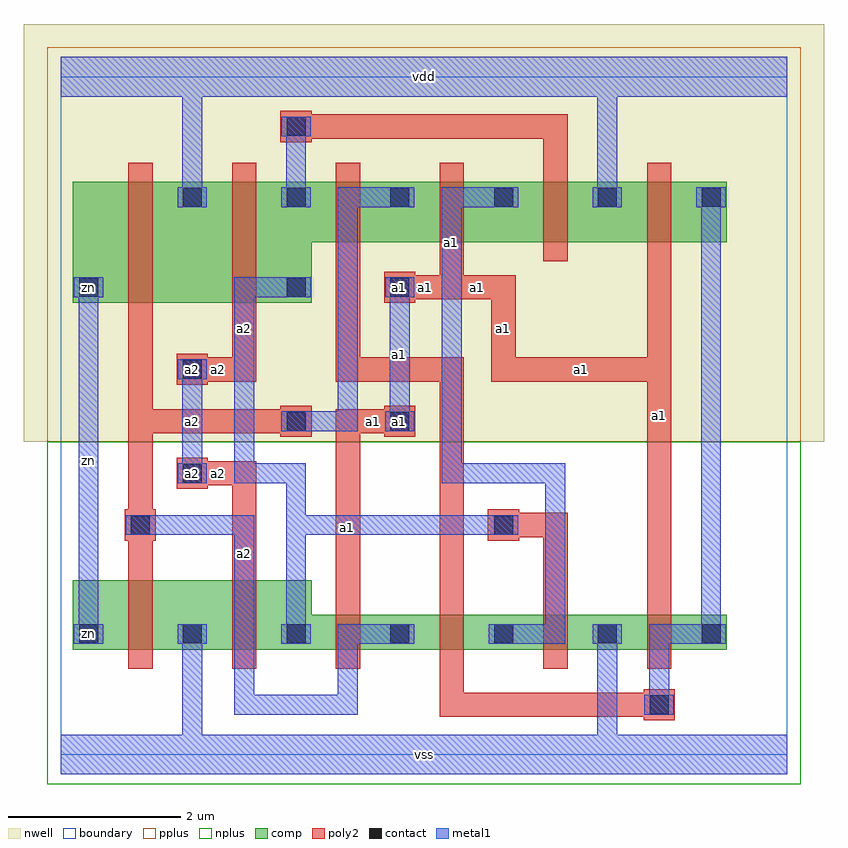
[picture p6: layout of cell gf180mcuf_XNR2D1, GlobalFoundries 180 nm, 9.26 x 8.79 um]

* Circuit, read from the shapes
.subckt gf180mcuf_XNR2D1 a1 a2 vdd vss zn
XM1 vss n1 zn VSUBS nfet_03v3 w=0.8u l=0.28u
XM2 n2 a2 vss VSUBS nfet_03v3 w=0.8u l=0.28u
XM3 n1 a1 n2 VSUBS nfet_03v3 w=0.4u l=0.28u
XM4 n3 n4 n1 VSUBS nfet_03v3 w=0.4u l=0.28u
XM5 vss n2 n3 VSUBS nfet_03v3 w=0.4u l=0.28u
XM6 n4 a1 vss VSUBS nfet_03v3 w=0.4u l=0.28u
XM7 vdd n1 zn n5 pfet_03v3 w=1.4u l=0.28u
XM8 n2 a2 vdd n5 pfet_03v3 w=1.4u l=0.28u
XM9 n1 n4 n2 n5 pfet_03v3 w=0.7u l=0.28u
XM10 n3 a1 n1 n5 pfet_03v3 w=0.7u l=0.28u
XM11 vdd n2 n3 n5 pfet_03v3 w=0.7u l=0.28u
XM12 n4 a1 vdd n5 pfet_03v3 w=0.7u l=0.28u
.ends

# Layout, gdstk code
import gdstk
lib = gdstk.Library(unit=1e-6, precision=1e-09)
def R(c, l, rs):  # rectangles x0, y0, x1, y1
    for r in rs: c.add(gdstk.rectangle(r[:2], r[2:], *l))
def A(c, l, x, y, w, h, nx, ny, dx, dy):  # array of equal rectangles
    R(c, l, [(x+i*dx, y+j*dy, x+i*dx+w, y+j*dy+h) for i in range(nx) for j in range(ny)])
boundary = (0, 0)
nwell = (21, 0)
comp = (22, 0)
poly2 = (30, 0)
pplus = (31, 0)
nplus = (32, 0)
contact = (33, 0)
metal1 = (34, 0)

gf180mcuf_xnr2d1 = lib.new_cell('gf180mcuf_XNR2D1')
R(gf180mcuf_xnr2d1, boundary, [(0,0,8.4,7.84)])
R(gf180mcuf_xnr2d1, nwell, [(-0.43,3.62,8.83,8.45)])
A(gf180mcuf_xnr2d1, comp, 0.14, 1.215, 0.36, 0.36, 7, 1, 1.2, 0)
A(gf180mcuf_xnr2d1, comp, 2.54, 1.215, 1.56, 0.4, 4, 1, 1.2, 0)
A(gf180mcuf_xnr2d1, comp, 2.54, 5.925, 1.56, 0.7, 4, 1, 1.2, 0)
A(gf180mcuf_xnr2d1, comp, 1.34, 6.265, 0.36, 0.36, 6, 1, 1.2, 0)
R(gf180mcuf_xnr2d1, comp, [(0.14,1.215,1.7,2.015), (1.34,1.215,2.9,2.015), (0.14,5.225,1.7,6.625), (0.14,5.225,0.5,5.585), (1.34,5.225,2.9,6.625), (2.54,5.225,2.9,5.585)])
A(gf180mcuf_xnr2d1, poly2, 3.18, 0.995, 0.28, 0.84, 4, 1, 1.2, 0)
A(gf180mcuf_xnr2d1, poly2, 3.18, 5.705, 0.28, 1.14, 4, 1, 1.2, 0)
R(gf180mcuf_xnr2d1, poly2, [(6.74,0.395,7.1,0.755), (4.38,0.435,4.66,1.535), (4.38,0.435,7.06,0.715), (0.78,0.995,1.06,2.235), (1.98,0.995,2.26,2.235), (0.78,1.255,1.06,2.795), (1.98,1.255,2.26,3.395), (3.18,1.255,3.46,3.995), (4.38,1.255,4.66,4.595), (5.58,1.255,5.86,2.795), (6.78,1.255,7.06,6.585), (0.74,2.475,1.1,2.835), (4.94,2.475,5.3,2.835), (0.78,2.515,1.06,3.995), (4.98,2.515,5.86,2.795), (1.34,3.075,1.7,3.435), (1.38,3.115,2.26,3.395), (2.54,3.675,2.9,4.035), (3.74,3.675,4.1,4.035), (0.78,3.715,2.86,3.995), (0.78,3.715,1.06,5.545), (3.18,3.715,4.06,3.995), (1.34,4.275,1.7,4.635), (1.38,4.315,2.26,4.595), (1.98,4.315,2.26,5.545), (3.18,4.315,4.66,4.595), (3.18,4.315,3.46,6.585), (4.98,4.315,5.26,5.545), (4.98,4.315,7.06,4.595), (0.78,5.005,1.06,6.845), (1.98,5.005,2.26,6.845), (3.74,5.225,4.1,5.585), (3.78,5.265,4.66,5.545), (4.38,5.265,5.26,5.545), (4.38,5.265,4.66,6.585), (5.58,6.305,5.86,7.405), (2.54,7.085,2.9,7.445), (2.58,7.125,5.86,7.405)])
R(gf180mcuf_xnr2d1, pplus, [(-0.16,3.62,8.56,7.5), (-0.16,7.5,8.56,8.18)])
R(gf180mcuf_xnr2d1, nplus, [(-0.16,-0.34,8.56,0.34), (-0.16,0.34,8.56,3.62)])
A(gf180mcuf_xnr2d1, contact, 0.21, 1.285, 0.22, 0.22, 7, 1, 1.2, 0)
A(gf180mcuf_xnr2d1, contact, 1.41, 6.335, 0.22, 0.22, 6, 1, 1.2, 0)
R(gf180mcuf_xnr2d1, contact, [(6.81,0.465,7.03,0.685), (0.81,2.545,1.03,2.765), (5.01,2.545,5.23,2.765), (1.41,3.145,1.63,3.365), (2.61,3.745,2.83,3.965), (3.81,3.745,4.03,3.965), (1.41,4.345,1.63,4.565), (0.21,5.295,0.43,5.515), (2.61,5.295,2.83,5.515), (3.81,5.295,4.03,5.515), (2.61,7.155,2.83,7.375)])
A(gf180mcuf_xnr2d1, metal1, 0.15, 1.28, 0.34, 0.23, 7, 1, 1.2, 0)
A(gf180mcuf_xnr2d1, metal1, 3.205, 1.28, 0.83, 0.23, 3, 1, 1.8, 0)
A(gf180mcuf_xnr2d1, metal1, 1.35, 6.33, 0.34, 0.23, 6, 1, 1.2, 0)
R(gf180mcuf_xnr2d1, metal1, [(0,-0.23,8.4,0.23), (1.405,0.065,1.635,1.51), (6.205,0.065,6.435,1.51), (2.005,0.46,3.435,0.69), (2.005,0.46,2.235,2.77), (3.205,0.46,3.435,1.51), (6.75,0.46,7.09,0.69), (6.805,0.46,7.035,1.51), (0.205,1.28,0.435,5.52), (2.605,1.28,2.835,2.77), (5.605,1.28,5.835,3.37), (7.405,1.28,7.635,6.56), (0.75,2.54,1.09,2.77), (0.805,2.54,2.235,2.77), (2.605,2.54,5.235,2.77), (2.605,2.54,2.835,3.37), (4.95,2.54,5.29,2.77), (1.35,3.14,1.69,3.37), (1.405,3.14,1.635,4.57), (2.005,3.14,2.835,3.37), (2.005,3.14,2.235,5.52), (4.405,3.14,5.835,3.37), (4.405,3.14,4.635,6.56), (2.55,3.74,2.89,3.97), (2.605,3.74,3.435,3.97), (3.205,3.74,3.435,6.56), (3.75,3.74,4.09,3.97), (3.805,3.74,4.035,5.52), (1.35,4.34,1.69,4.57), (0.15,5.29,0.49,5.52), (2.005,5.29,2.835,5.52), (2.55,5.29,2.89,5.52), (3.75,5.29,4.09,5.52), (1.405,6.33,1.635,7.775), (2.605,6.33,2.835,7.38), (3.205,6.33,4.035,6.56), (4.405,6.33,5.235,6.56), (6.205,6.33,6.435,7.775), (2.55,7.15,2.89,7.38), (0,7.61,8.4,8.07)])
gf180mcuf_xnr2d1.add(gdstk.FlexPath([(0.14,0.575),(7.7,0.575)], 0, ends="flush", simple_path=True, layer=0, datatype=0))  # boundary
gf180mcuf_xnr2d1.add(gdstk.FlexPath([(0.14,1.395),(7.7,1.395)], 0, ends="flush", simple_path=True, layer=0, datatype=0))  # boundary
gf180mcuf_xnr2d1.add(gdstk.FlexPath([(0.14,2.655),(7.7,2.655)], 0, ends="flush", simple_path=True, layer=0, datatype=0))  # boundary
gf180mcuf_xnr2d1.add(gdstk.FlexPath([(0.14,3.255),(7.7,3.255)], 0, ends="flush", simple_path=True, layer=0, datatype=0))  # boundary
gf180mcuf_xnr2d1.add(gdstk.FlexPath([(0.14,3.855),(7.7,3.855)], 0, ends="flush", simple_path=True, layer=0, datatype=0))  # boundary
gf180mcuf_xnr2d1.add(gdstk.FlexPath([(0.14,4.455),(7.7,4.455)], 0, ends="flush", simple_path=True, layer=0, datatype=0))  # boundary
gf180mcuf_xnr2d1.add(gdstk.FlexPath([(0.14,5.405),(7.7,5.405)], 0, ends="flush", simple_path=True, layer=0, datatype=0))  # boundary
gf180mcuf_xnr2d1.add(gdstk.FlexPath([(0.14,6.445),(7.7,6.445)], 0, ends="flush", simple_path=True, layer=0, datatype=0))  # boundary
gf180mcuf_xnr2d1.add(gdstk.FlexPath([(0.14,7.265),(7.7,7.265)], 0, ends="flush", simple_path=True, layer=0, datatype=0))  # boundary
gf180mcuf_xnr2d1.add(gdstk.FlexPath([(0.32,0.065),(0.32,7.775)], 0, ends="flush", simple_path=True, layer=0, datatype=0))  # boundary
gf180mcuf_xnr2d1.add(gdstk.FlexPath([(0.92,0.065),(0.92,7.775)], 0, ends="flush", simple_path=True, layer=0, datatype=0))  # boundary
gf180mcuf_xnr2d1.add(gdstk.FlexPath([(1.52,0.065),(1.52,7.775)], 0, ends="flush", simple_path=True, layer=0, datatype=0))  # boundary
gf180mcuf_xnr2d1.add(gdstk.FlexPath([(2.12,0.065),(2.12,7.775)], 0, ends="flush", simple_path=True, layer=0, datatype=0))  # boundary
gf180mcuf_xnr2d1.add(gdstk.FlexPath([(2.72,0.065),(2.72,7.775)], 0, ends="flush", simple_path=True, layer=0, datatype=0))  # boundary
gf180mcuf_xnr2d1.add(gdstk.FlexPath([(3.32,0.065),(3.32,7.775)], 0, ends="flush", simple_path=True, layer=0, datatype=0))  # boundary
gf180mcuf_xnr2d1.add(gdstk.FlexPath([(3.92,0.065),(3.92,7.775)], 0, ends="flush", simple_path=True, layer=0, datatype=0))  # boundary
gf180mcuf_xnr2d1.add(gdstk.FlexPath([(4.52,0.065),(4.52,7.775)], 0, ends="flush", simple_path=True, layer=0, datatype=0))  # boundary
gf180mcuf_xnr2d1.add(gdstk.FlexPath([(5.12,0.065),(5.12,7.775)], 0, ends="flush", simple_path=True, layer=0, datatype=0))  # boundary
gf180mcuf_xnr2d1.add(gdstk.FlexPath([(5.72,0.065),(5.72,7.775)], 0, ends="flush", simple_path=True, layer=0, datatype=0))  # boundary
gf180mcuf_xnr2d1.add(gdstk.FlexPath([(6.32,0.065),(6.32,7.775)], 0, ends="flush", simple_path=True, layer=0, datatype=0))  # boundary
gf180mcuf_xnr2d1.add(gdstk.FlexPath([(6.92,0.065),(6.92,7.775)], 0, ends="flush", simple_path=True, layer=0, datatype=0))  # boundary
gf180mcuf_xnr2d1.add(gdstk.FlexPath([(7.52,0.065),(7.52,7.775)], 0, ends="flush", simple_path=True, layer=0, datatype=0))  # boundary
gf180mcuf_xnr2d1.add(gdstk.Label('zn', (0.32,1.395), layer=22, texttype=0))
gf180mcuf_xnr2d1.add(gdstk.Label('zn', (0.32,5.405), layer=22, texttype=0))
gf180mcuf_xnr2d1.add(gdstk.Label('a2', (2.12,2.325), layer=30, texttype=0))
gf180mcuf_xnr2d1.add(gdstk.Label('a2', (1.82,3.255), layer=30, texttype=0))
gf180mcuf_xnr2d1.add(gdstk.Label('a2', (1.52,3.255), layer=30, texttype=0))
gf180mcuf_xnr2d1.add(gdstk.Label('a2', (1.52,4.455), layer=30, texttype=0))
gf180mcuf_xnr2d1.add(gdstk.Label('a2', (1.82,4.455), layer=30, texttype=0))
gf180mcuf_xnr2d1.add(gdstk.Label('a2', (2.12,4.93), layer=30, texttype=0))
gf180mcuf_xnr2d1.add(gdstk.Label('a1', (6.92,3.92), layer=30, texttype=0))
gf180mcuf_xnr2d1.add(gdstk.Label('a1', (6.02,4.455), layer=30, texttype=0))
gf180mcuf_xnr2d1.add(gdstk.Label('a1', (5.12,4.93), layer=30, texttype=0))
gf180mcuf_xnr2d1.add(gdstk.Label('a1', (4.82,5.405), layer=30, texttype=0))
gf180mcuf_xnr2d1.add(gdstk.Label('a1', (4.52,5.925), layer=30, texttype=0))
gf180mcuf_xnr2d1.add(gdstk.Label('a1', (3.32,2.625), layer=30, texttype=0))
gf180mcuf_xnr2d1.add(gdstk.Label('a1', (3.62,3.855), layer=30, texttype=0))
gf180mcuf_xnr2d1.add(gdstk.Label('a1', (3.92,3.855), layer=30, texttype=0))
gf180mcuf_xnr2d1.add(gdstk.Label('a1', (3.92,5.405), layer=30, texttype=0))
gf180mcuf_xnr2d1.add(gdstk.Label('a1', (4.22,5.405), layer=30, texttype=0))
gf180mcuf_xnr2d1.add(gdstk.Label('a2', (1.52,3.255), layer=33, texttype=0))
gf180mcuf_xnr2d1.add(gdstk.Label('a2', (1.52,4.455), layer=33, texttype=0))
gf180mcuf_xnr2d1.add(gdstk.Label('zn', (0.32,1.395), layer=33, texttype=0))
gf180mcuf_xnr2d1.add(gdstk.Label('zn', (0.32,5.405), layer=33, texttype=0))
gf180mcuf_xnr2d1.add(gdstk.Label('a1', (3.92,3.855), layer=33, texttype=0))
gf180mcuf_xnr2d1.add(gdstk.Label('a1', (3.92,5.405), layer=33, texttype=0))
gf180mcuf_xnr2d1.add(gdstk.Label('a2', (1.52,3.255), layer=34, texttype=10))
gf180mcuf_xnr2d1.add(gdstk.Label('a2', (1.52,3.855), layer=34, texttype=10))
gf180mcuf_xnr2d1.add(gdstk.Label('a2', (1.52,4.455), layer=34, texttype=10))
gf180mcuf_xnr2d1.add(gdstk.Label('zn', (0.32,1.395), layer=34, texttype=10))
gf180mcuf_xnr2d1.add(gdstk.Label('zn', (0.32,5.405), layer=34, texttype=10))
gf180mcuf_xnr2d1.add(gdstk.Label('zn', (0.32,3.4), layer=34, texttype=10))
gf180mcuf_xnr2d1.add(gdstk.Label('a1', (3.92,3.855), layer=34, texttype=10))
gf180mcuf_xnr2d1.add(gdstk.Label('a1', (3.92,4.63), layer=34, texttype=10))
gf180mcuf_xnr2d1.add(gdstk.Label('a1', (3.92,5.405), layer=34, texttype=10))
gf180mcuf_xnr2d1.add(gdstk.Label('vss', (4.2,0), layer=34, texttype=10))
gf180mcuf_xnr2d1.add(gdstk.Label('vdd', (4.2,7.84), layer=34, texttype=10))

lib.write_gds('gf180mcuf_XNR2D1.gds')
